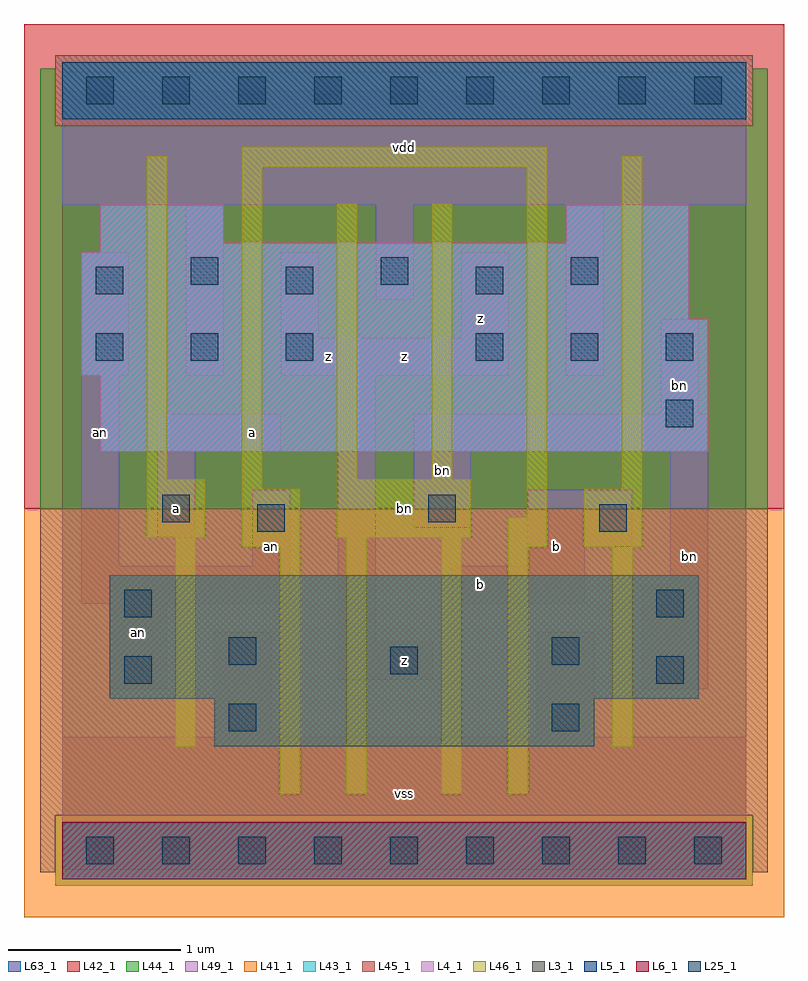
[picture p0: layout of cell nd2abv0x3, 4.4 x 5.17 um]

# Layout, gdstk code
import gdstk
lib = gdstk.Library(unit=1e-6, precision=1e-09)
def R(c, l, rs):  # rectangles x0, y0, x1, y1
    for r in rs: c.add(gdstk.rectangle(r[:2], r[2:], *l))
def A(c, l, x, y, w, h, nx, ny, dx, dy):  # array of equal rectangles
    R(c, l, [(x+i*dx, y+j*dy, x+i*dx+w, y+j*dy+h) for i in range(nx) for j in range(ny)])
L3_1 = (3, 1)
L4_1 = (4, 1)
L5_1 = (5, 1)
L6_1 = (6, 1)
L25_1 = (25, 1)
L41_1 = (41, 1)
L42_1 = (42, 1)
L43_1 = (43, 1)
L44_1 = (44, 1)
L45_1 = (45, 1)
L46_1 = (46, 1)
L49_1 = (49, 1)
L63_1 = (63, 1)

nd2abv0x3 = lib.new_cell('nd2abv0x3')
R(nd2abv0x3, L3_1, [(0.88,0.605,3.08,0.88), (0.275,0.88,3.685,1.595)])
R(nd2abv0x3, L4_1, [(0.22,2.31,3.74,2.75), (0.11,2.75,3.74,3.08), (0.11,3.08,3.63,3.465), (0.22,3.465,3.63,3.52), (0.22,3.52,0.935,3.74), (2.915,3.52,3.63,3.74)])
R(nd2abv0x3, L5_1, [(0,4.235,3.96,4.565)])
R(nd2abv0x3, L6_1, [(0,-0.165,3.96,0.165)])
A(nd2abv0x3, L25_1, 0.14, -0.08, 0.16, 0.16, 9, 2, 0.44, 4.4)
A(nd2abv0x3, L25_1, 0.195, 2.835, 0.16, 0.16, 3, 1, 0.55, 0)
A(nd2abv0x3, L25_1, 2.395, 2.835, 0.16, 0.16, 3, 1, 0.55, 0)
A(nd2abv0x3, L25_1, 0.195, 3.22, 0.16, 0.16, 3, 1, 1.1, 0)
A(nd2abv0x3, L25_1, 0.745, 3.275, 0.16, 0.16, 3, 1, 1.1, 0)
R(nd2abv0x3, L25_1, [(0.965,0.69,1.125,0.85), (2.835,0.69,2.995,0.85), (0.36,0.965,0.52,1.125), (3.44,0.965,3.6,1.125), (1.9,1.02,2.06,1.18), (0.965,1.075,1.125,1.235), (2.835,1.075,2.995,1.235), (0.36,1.35,0.52,1.51), (3.44,1.35,3.6,1.51), (1.13,1.845,1.29,2.005), (3.11,1.845,3.27,2.005), (0.58,1.9,0.74,2.06), (2.12,1.9,2.28,2.06), (3.495,2.45,3.655,2.61)])
R(nd2abv0x3, L41_1, [(-0.22,-0.385,4.18,1.98)])
R(nd2abv0x3, L42_1, [(-0.22,1.98,4.18,4.785)])
R(nd2abv0x3, L43_1, [(0,-0.165,3.96,0.165), (0.88,0.605,3.08,0.88), (0.275,0.88,3.685,1.595), (0.22,2.31,3.74,2.75), (0.11,2.75,3.74,3.08), (0.11,3.08,3.63,3.465), (0.22,3.465,3.63,3.52), (0.22,3.52,0.935,3.74), (2.915,3.52,3.63,3.74), (0,4.235,3.96,4.565)])
R(nd2abv0x3, L44_1, [(-0.04,-0.205,4,0.205), (-0.125,1.98,4.085,4.195), (-0.125,4.195,-0.04,4.525), (4,4.195,4.085,4.525)])
R(nd2abv0x3, L45_1, [(-0.125,-0.125,-0.04,0.205), (4,-0.125,4.085,0.205), (-0.125,0.205,4.085,1.98), (-0.04,4.195,4,4.605)])
R(nd2abv0x3, L46_1, [(1.26,0.325,1.38,1.755), (1.645,0.325,1.765,1.81), (2.195,0.325,2.315,1.81), (2.58,0.325,2.7,1.755), (0.655,0.6,0.775,1.81), (3.185,0.6,3.305,1.755), (1.04,1.755,1.38,2.095), (2.58,1.755,2.81,1.93), (3.02,1.755,3.36,2.095), (0.49,1.81,0.83,2.15), (1.59,1.81,2.37,2.15), (2.69,1.93,2.81,3.955), (1.04,2.095,1.16,3.955), (3.24,2.095,3.36,4.02), (0.49,2.15,0.61,4.02), (1.59,2.15,1.71,3.745), (2.14,2.15,2.26,3.745), (1.04,3.955,2.81,4.075)])
R(nd2abv0x3, L49_1, [(0,-0.11,3.96,0.66), (0.88,0.66,1.21,1.265), (2.75,0.66,3.08,1.265), (0.275,0.935,0.605,1.43), (3.355,0.935,3.74,1.54), (1.595,0.99,2.145,1.21), (1.595,1.21,1.815,2.75), (0.11,1.43,1.32,1.65), (2.255,1.43,3.025,1.65), (3.52,1.54,3.74,2.31), (0.11,1.65,0.33,2.75), (1.1,1.65,1.32,2.09), (2.695,1.65,3.025,1.76), (2.695,1.76,3.3,2.09), (0.55,1.815,0.77,2.31), (2.035,1.87,2.365,2.31), (0.55,2.31,1.265,2.53), (2.035,2.31,3.74,2.53), (3.465,2.53,3.685,3.08), (0.11,2.75,0.385,3.465), (0.715,2.75,0.935,3.74), (1.265,2.75,2.585,2.97), (2.915,2.75,3.135,3.74), (1.265,2.97,1.485,3.465), (2.31,2.97,2.585,3.465), (1.815,3.19,2.035,3.74), (0,3.74,3.96,4.51)])
R(nd2abv0x3, L63_1, [(0,0,3.96,4.4)])
nd2abv0x3.add(gdstk.Label('bn', (1.98,1.98), layer=46, texttype=1))
nd2abv0x3.add(gdstk.Label('an', (0.44,1.265), layer=49, texttype=1))
nd2abv0x3.add(gdstk.Label('an', (0.22,2.42), layer=49, texttype=1))
nd2abv0x3.add(gdstk.Label('an', (1.21,1.76), layer=49, texttype=1))
nd2abv0x3.add(gdstk.Label('a', (0.66,1.98), layer=49, texttype=1))
nd2abv0x3.add(gdstk.Label('a', (1.1,2.42), layer=49, texttype=1))
nd2abv0x3.add(gdstk.Label('vss', (1.98,0.33), layer=49, texttype=1))
nd2abv0x3.add(gdstk.Label('z', (1.98,1.1), layer=49, texttype=1))
nd2abv0x3.add(gdstk.Label('bn', (2.2,2.2), layer=49, texttype=1))
nd2abv0x3.add(gdstk.Label('z', (1.98,2.86), layer=49, texttype=1))
nd2abv0x3.add(gdstk.Label('z', (1.54,2.86), layer=49, texttype=1))
nd2abv0x3.add(gdstk.Label('vdd', (1.98,4.07), layer=49, texttype=1))
nd2abv0x3.add(gdstk.Label('b', (2.42,1.54), layer=49, texttype=1))
nd2abv0x3.add(gdstk.Label('b', (2.86,1.76), layer=49, texttype=1))
nd2abv0x3.add(gdstk.Label('z', (2.42,3.08), layer=49, texttype=1))
nd2abv0x3.add(gdstk.Label('bn', (3.63,1.705), layer=49, texttype=1))
nd2abv0x3.add(gdstk.Label('bn', (3.575,2.695), layer=49, texttype=1))

lib.write_gds('nd2abv0x3.gds')
